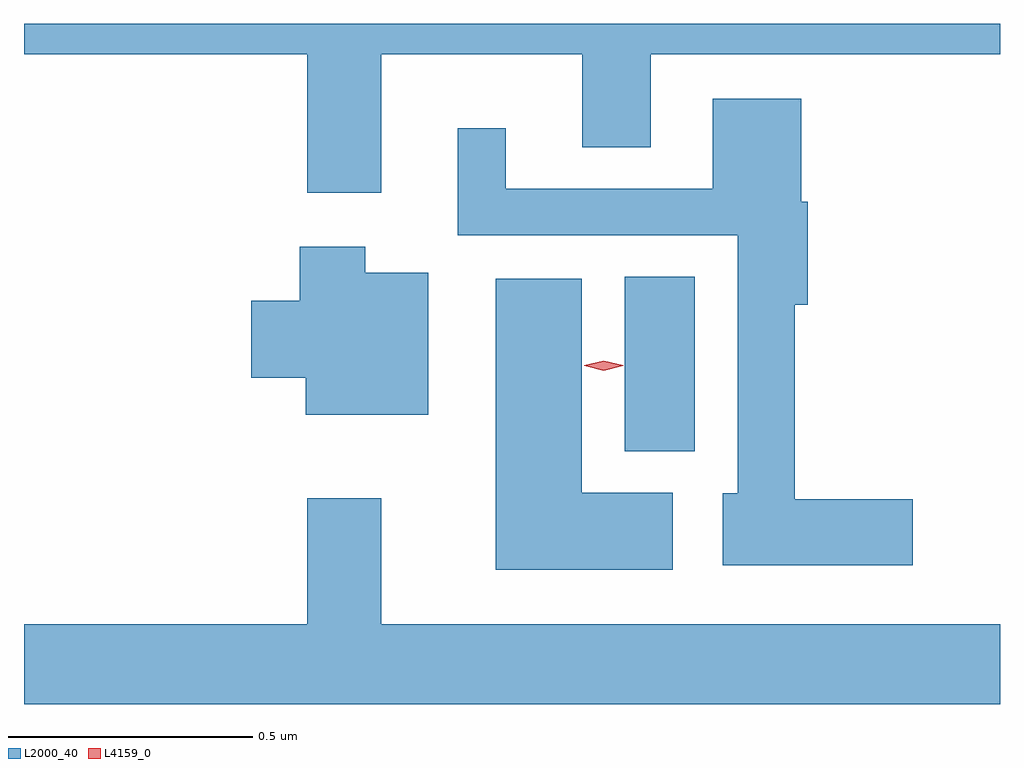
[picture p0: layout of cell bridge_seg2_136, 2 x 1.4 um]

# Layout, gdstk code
import gdstk
lib = gdstk.Library(unit=1e-6, precision=1e-09)
def R(c, l, rs):  # rectangles x0, y0, x1, y1
    for r in rs: c.add(gdstk.rectangle(r[:2], r[2:], *l))
def P(c, l, *ps):  # polygons
    for p in ps: c.add(gdstk.Polygon(p, *l))
L2000_40 = (2000, 40)
L4159_0 = (4159, 0)

bridge_seg2_136 = lib.new_cell('bridge_seg2_136')
R(bridge_seg2_136, L2000_40, [(473.93,606.863,474.073,607.22)])
P(bridge_seg2_136, L2000_40, [(473.431,607.676),(473.843,607.676),(473.843,607.486),(473.983,607.486),(473.983,607.676),(474.699,607.676),(474.699,607.739),(472.699,607.739),(472.699,607.676),(473.279,607.676),(473.279,607.392),(473.431,607.392)],
  [(474.52,606.764),(474.278,606.764),(474.278,607.163),(474.305,607.163),(474.305,607.374),(474.292,607.374),(474.292,607.585),(474.11,607.585),(474.11,607.401),(473.686,607.401),(473.686,607.525),(473.588,607.525),(473.588,607.305),(474.162,607.305),(474.162,606.777),(474.131,606.777),(474.131,606.629),(474.52,606.629)],
  [(473.527,607.228),(473.398,607.228),(473.398,607.282),(473.264,607.282),(473.264,607.171),(473.165,607.171),(473.165,607.013),(473.276,607.013),(473.276,606.938),(473.527,606.938)],
  [(474.028,606.778),(473.842,606.778),(473.842,607.216),(473.666,607.216),(473.666,606.62),(474.028,606.62)],
  [(474.699,606.508),(473.431,606.508),(473.431,606.766),(473.279,606.766),(473.279,606.508),(472.699,606.508),(472.699,606.344),(474.699,606.344)])
P(bridge_seg2_136, L4159_0, [(473.887,607.028),(473.847,607.038),(473.847,607.038),(473.847,607.039),(473.887,607.048),(473.927,607.039),(473.927,607.038),(473.927,607.038)])

lib.write_gds('bridge_seg2_136.gds')
